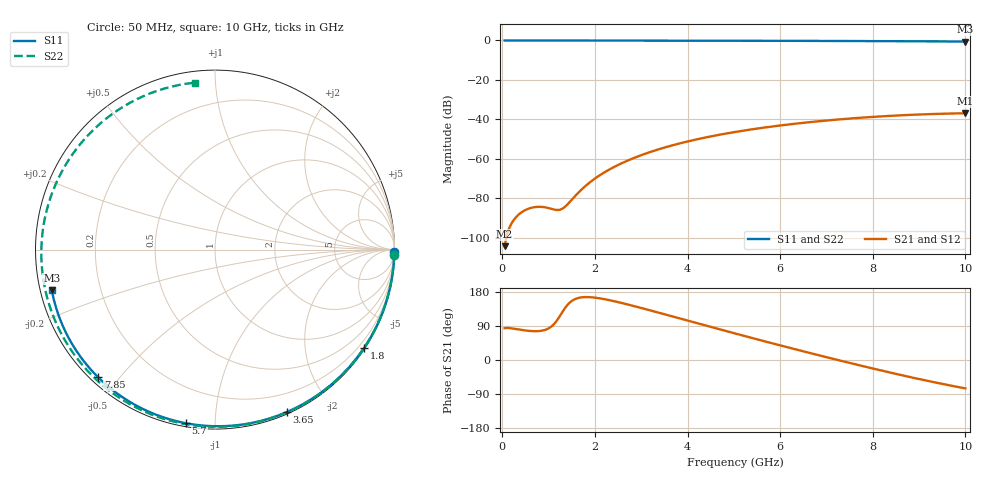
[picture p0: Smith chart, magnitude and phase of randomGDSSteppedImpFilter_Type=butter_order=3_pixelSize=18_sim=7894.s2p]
! freq	dB(S11)	phase(S11)	dB(S12)	phase(S12)
!  dB(S21)	phase(S21)	dB(S22)	phase(S22)
!S-par simulation data
#  GHz  S  DB  R 50
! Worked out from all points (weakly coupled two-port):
!   200 points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, 50 MHz to 10 GHz, reference 50 ohm
!   highest |S21| = -36.94 dB at 10 GHz (marker M1); lowest = -104.4 dB at 50 MHz (marker M2)
!   lowest |S11| = -0.6 dB at 10 GHz (marker M3), VSWR 30.74, Z = 1.65 - j6.13 ohm
!   |S11| at or under -10 dB: nowhere
!   |S22| runs from -0.6 to 0.0 dB; largest |S21 - S12| = 0
!   S11 on the Smith chart (normalised r, x): 50 MHz: open; 1.8 GHz: 0.03, -3.32; 3.65 GHz: 0.02, -1.54; 5.7 GHz: 0.02, -0.85; 7.85 GHz: 0.02, -0.44; 10 GHz: 0.03, -0.12
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0.05  -0.00 -0.9  -104.37 83.9  -104.37 83.9  -0.00 -1.7
0.4  -0.01 -7.5  -87.45 79.6  -87.45 79.6  -0.02 -13.8
0.75  -0.02 -14.1  -84.43 76.1  -84.43 76.1  -0.03 -25.7
1.5  -0.04 -28.0  -80.83 155.8  -80.83 155.8  -0.06 -50.5
1.55  -0.04 -28.9  -79.53 159.5  -79.53 159.5  -0.06 -52.1
1.75  -0.04 -32.6  -74.80 165.8  -74.80 165.8  -0.07 -58.4
1.8  -0.04 -33.5  -73.76 166.0  -73.76 166.0  -0.07 -60.0
2.1  -0.05 -38.9  -68.47 162.8  -68.47 162.8  -0.09 -69.2
2.45  -0.06 -45.2  -63.76 154.2  -63.76 154.2  -0.10 -79.6
2.9  -0.07 -53.1  -59.09 140.5  -59.09 140.5  -0.11 -92.5
3.4  -0.08 -61.8  -55.06 124.1  -55.06 124.1  -0.13 -106.1
3.65  -0.09 -66.1  -53.36 115.8  -53.36 115.8  -0.14 -112.6
4.35  -0.11 -77.8  -49.42 92.4  -49.42 92.4  -0.17 -130.2
5.05  -0.14 -89.2  -46.35 69.2  -46.35 69.2  -0.20 -146.8
5.7  -0.17 -99.5  -44.06 48.2  -44.06 48.2  -0.23 -161.8
6.2  -0.19 -107.3  -42.58 32.3  -42.58 32.3  -0.27 -173.0
6.7  -0.23 -115.0  -41.30 16.7  -41.30 16.7  -0.30 175.8
7.25  -0.27 -123.4  -40.10 -0.2  -40.10 -0.2  -0.34 163.4
7.85  -0.31 -132.5  -39.02 -18.1  -39.02 -18.1  -0.39 149.7
8.35  -0.36 -140.1  -38.29 -32.5  -38.29 -32.5  -0.43 138.0
9.2  -0.46 -153.2  -37.40 -55.5  -37.40 -55.5  -0.50 117.4
10  -0.57 -166.0  -36.94 -75.0  -36.94 -75.0  -0.57 97.0
